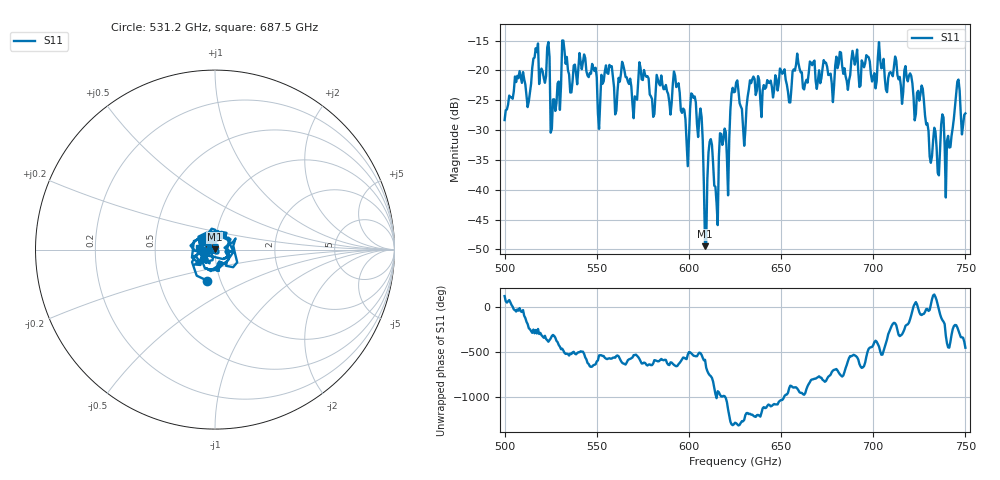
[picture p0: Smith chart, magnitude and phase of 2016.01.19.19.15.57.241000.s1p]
!Created with skrf (http://scikit-rf.org).
# GHz S RI R 50.0
!freq ReS11 ImS11
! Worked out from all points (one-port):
!   401 points, 500 GHz to 750 GHz, reference 50 ohm
!   lowest |S11| = -49.4 dB at 608.8 GHz (marker M1), VSWR 1.01, Z = 49.8 + j0.254 ohm
!   |S11| at or under -10 dB: start of sweep to end of sweep
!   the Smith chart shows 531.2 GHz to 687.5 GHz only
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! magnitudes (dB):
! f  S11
! 500 GHz  -28.3
! 506.9 GHz  -20.9
! 513.1 GHz  -25.2
! 516.9 GHz  -16.3
! 523.1 GHz  -16.2
! 526.2 GHz  -24.9
! 531.2 GHz  -15.0
! 548.8 GHz  -20.1
! 551.9 GHz  -25.1
! 562.5 GHz  -21.9
! 593.8 GHz  -22.6
! 598.8 GHz  -32.1
! 602.5 GHz  -24.6
! 606.2 GHz  -26.4
! 608.8 GHz  -49.4
! 611.9 GHz  -31.5
! 615 GHz  -42.3
! 625 GHz  -23.6
! 630 GHz  -32.6
! 634.4 GHz  -21.5
! 656.2 GHz  -20.1
! 687.5 GHz  -20.8
! 718.8 GHz  -21.8
! 735 GHz  -37.2
! 737.5 GHz  -27.4
! 740.6 GHz  -31.0
! 745.6 GHz  -21.9
! 750 GHz  -27.2
